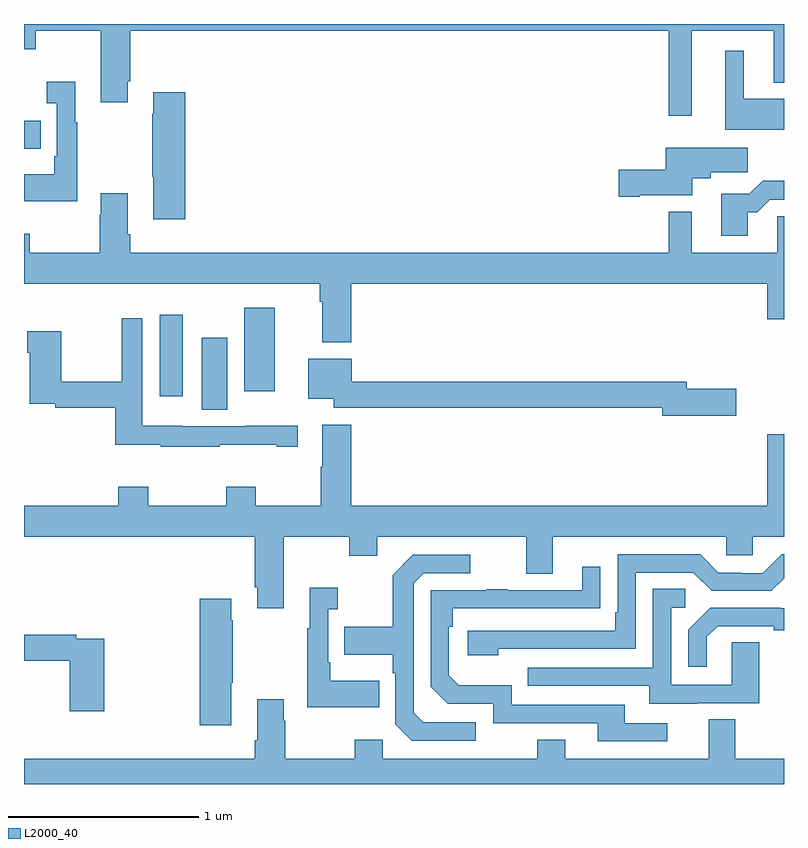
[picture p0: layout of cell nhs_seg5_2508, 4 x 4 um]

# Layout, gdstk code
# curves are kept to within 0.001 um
import gdstk
lib = gdstk.Library(unit=1e-6, precision=1e-09)
def R(c, l, rs):  # rectangles x0, y0, x1, y1
    for r in rs: c.add(gdstk.rectangle(r[:2], r[2:], *l))
def P(c, l, *ps):  # polygons
    for p in ps: c.add(gdstk.Polygon(p, *l))
L2000_40 = (2000, 40)

nhs_seg5_2508 = lib.new_cell('nhs_seg5_2508')
R(nhs_seg5_2508, L2000_40, [(257.936,850.768,258.07,851.149), (257.714,850.839,257.836,851.269), (258.158,850.866,258.319,851.305), (257,852.143,257.087,852.291)])
P(nhs_seg5_2508, L2000_40, [(260.515,852.764),(260.945,852.764),(260.945,852.491),(261,852.491),(261,852.799),(257,852.799),(257,852.665),(257.061,852.665),(257.061,852.764),(257.405,852.764),(257.405,852.387),(257.545,852.387),(257.545,852.499),(257.558,852.499),(257.558,852.764),(260.394,852.764),(260.394,852.315),(260.515,852.315)],
  [(261,852.406),(260.788,852.406),(260.788,852.658),(260.69,852.658),(260.69,852.242),(261,852.242)],
  [(257.281,852.283),(257.269,852.283),(257.269,852.496),(257.121,852.496),(257.121,852.383),(257.172,852.383),(257.172,852.103),(257.16,852.103),(257.16,852.007),(257,852.007),(257,851.867),(257.281,851.867)],
  [(257.849,852.439),(257.681,852.439),(257.681,852.326),(257.674,852.326),(257.674,851.995),(257.681,851.995),(257.681,851.772),(257.849,851.772)],
  [(260.242,851.897),(260.518,851.897),(260.518,851.987),(260.614,851.987),(260.614,852.019),(260.809,852.019),(260.809,852.148),(260.378,852.148),(260.378,852.032),(260.13,852.032),(260.13,851.89),(260.242,851.89)],
  [(260.809,851.807),(260.858,851.807),(260.925,851.874),(261,851.874),(261,851.975),(260.888,851.975),(260.818,851.905),(260.669,851.905),(260.669,851.685),(260.809,851.685)],
  [(258.722,851.432),(260.912,851.432),(260.912,851.244),(261,851.244),(261,851.786),(260.964,851.786),(260.964,851.596),(260.515,851.596),(260.515,851.812),(260.394,851.812),(260.394,851.596),(257.558,851.596),(257.558,851.692),(257.545,851.692),(257.545,851.908),(257.405,851.908),(257.405,851.795),(257.398,851.795),(257.398,851.596),(257.031,851.596),(257.031,851.695),(257,851.695),(257,851.432),(258.557,851.432),(258.557,851.336),(258.569,851.336),(258.569,851.123),(258.722,851.123)],
  [(258.029,850.585),(258.329,850.585),(258.329,850.575),(258.442,850.575),(258.442,850.685),(258.166,850.685),(258.166,850.683),(257.832,850.683),(257.832,850.684),(257.622,850.684),(257.622,851.251),(257.514,851.251),(257.514,850.916),(257.196,850.916),(257.196,851.182),(257.017,851.182),(257.017,851.069),(257.03,851.069),(257.03,850.8),(257.164,850.8),(257.164,850.78),(257.48,850.78),(257.48,850.585),(257.719,850.585),(257.719,850.575),(258.029,850.575)],
  [(260.749,850.88),(260.488,850.88),(260.488,850.916),(258.724,850.916),(258.724,851.038),(258.497,851.038),(258.497,850.826),(258.63,850.826),(258.63,850.78),(260.36,850.78),(260.36,850.738),(260.749,850.738)],
  [(258.367,850.1),(258.712,850.1),(258.712,850.001),(258.859,850.001),(258.859,850.1),(259.643,850.1),(259.643,849.906),(259.783,849.906),(259.783,850.1),(260.697,850.1),(260.697,850.002),(260.835,850.002),(260.835,850.1),(261,850.1),(261,850.639),(260.912,850.639),(260.912,850.264),(258.722,850.264),(258.722,850.69),(258.569,850.69),(258.569,850.469),(258.562,850.469),(258.562,850.264),(258.219,850.264),(258.219,850.363),(258.064,850.363),(258.064,850.264),(257.654,850.264),(257.654,850.363),(257.495,850.363),(257.495,850.264),(257,850.264),(257,850.1),(258.215,850.1),(258.215,849.835),(258.227,849.835),(258.227,849.723),(258.367,849.723)],
  [(259.496,849.51),(260.22,849.51),(260.22,849.912),(260.523,849.912),(260.619,849.816),(260.934,849.816),(261,849.882),(261,850.009),(260.989,850.009),(260.889,849.909),(260.774,849.909),(260.774,849.912),(260.655,849.912),(260.559,850.008),(260.124,850.008),(260.124,849.703),(260.111,849.703),(260.111,849.606),(259.335,849.606),(259.335,849.476),(259.496,849.476)],
  [(259.378,849.123),(259.101,849.123),(259.05,849.174),(259.05,849.855),(259.104,849.909),(259.348,849.909),(259.348,850.005),(259.047,850.005),(258.942,849.899),(258.942,849.627),(258.685,849.627),(258.685,849.479),(258.942,849.479),(258.942,849.383),(258.954,849.383),(258.954,849.114),(259.041,849.027),(259.378,849.027)],
  [(260.386,849.12),(260.161,849.12),(260.161,849.216),(259.566,849.216),(259.566,849.319),(259.289,849.319),(259.236,849.372),(259.236,849.626),(259.256,849.626),(259.256,849.723),(260.033,849.724),(260.033,849.943),(259.937,849.943),(259.937,849.819),(259.547,849.819),(259.547,849.824),(259.435,849.824),(259.435,849.819),(259.14,849.819),(259.14,849.312),(259.23,849.222),(259.47,849.222),(259.47,849.12),(260.021,849.12),(260.021,849.024),(260.386,849.024)],
  [(258.869,849.343),(258.613,849.343),(258.613,849.439),(258.6,849.439),(258.6,849.719),(258.652,849.719),(258.652,849.832),(258.503,849.832),(258.503,849.619),(258.492,849.619),(258.492,849.203),(258.869,849.203)],
  [(260.545,849.225),(260.869,849.225),(260.869,849.545),(260.724,849.545),(260.724,849.321),(260.406,849.321),(260.406,849.726),(260.479,849.726),(260.479,849.827),(260.31,849.827),(260.31,849.411),(259.651,849.411),(259.651,849.315),(260.291,849.315),(260.291,849.221),(260.545,849.221)],
  [(258.091,849.331),(258.099,849.331),(258.099,849.662),(258.091,849.662),(258.091,849.775),(257.924,849.775),(257.924,849.108),(258.091,849.108)],
  [(260.593,849.573),(260.65,849.63),(260.945,849.63),(260.945,849.608),(261,849.608),(261,849.723),(260.984,849.723),(260.984,849.726),(260.612,849.726),(260.496,849.61),(260.496,849.417),(260.593,849.417)],
  [(257.423,849.564),(257.276,849.564),(257.276,849.584),(257,849.584),(257,849.448),(257.24,849.448),(257.24,849.183),(257.423,849.183)],
  [(261,848.932),(260.743,848.932),(260.743,849.14),(260.603,849.14),(260.603,848.932),(259.849,848.932),(259.849,849.031),(259.702,849.031),(259.702,848.932),(258.888,848.932),(258.888,849.031),(258.742,849.031),(258.742,848.932),(258.375,848.932),(258.375,849.131),(258.367,849.131),(258.367,849.244),(258.227,849.244),(258.227,849.028),(258.215,849.028),(258.215,848.932),(257,848.932),(257,848.799),(261,848.799)])

lib.write_gds('nhs_seg5_2508.gds')
